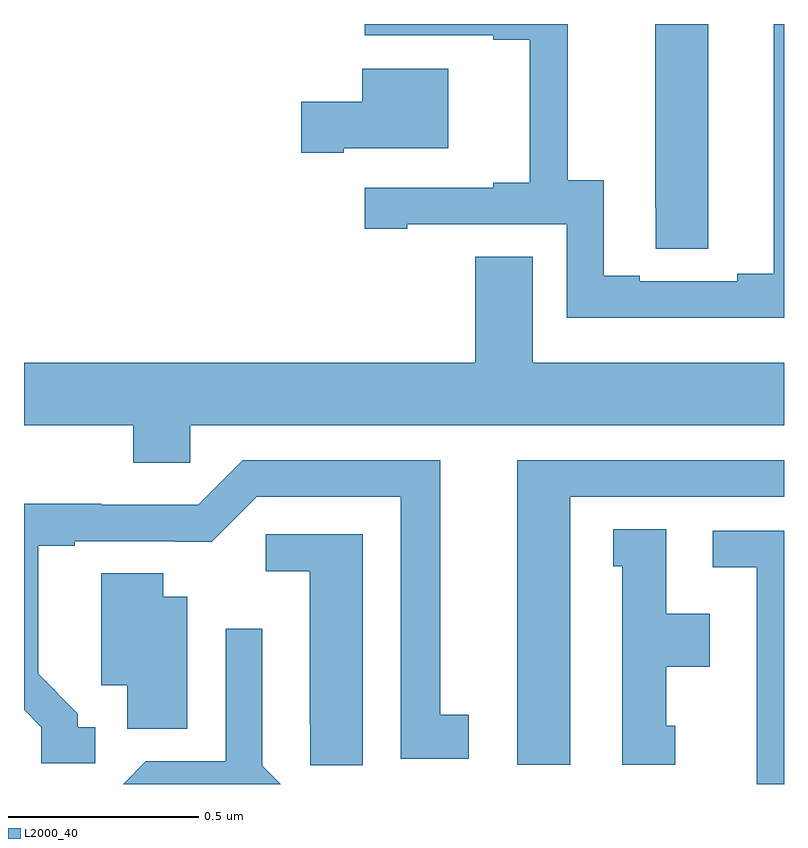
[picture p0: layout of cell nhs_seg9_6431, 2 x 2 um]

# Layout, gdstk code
import gdstk
lib = gdstk.Library(unit=1e-6, precision=1e-09)
def P(c, l, *ps):  # polygons
    for p in ps: c.add(gdstk.Polygon(p, *l))
L2000_40 = (2000, 40)

nhs_seg9_6431 = lib.new_cell('nhs_seg9_6431')
P(nhs_seg9_6431, L2000_40, [(193.801,1173.5),(193.661,1173.5),(193.661,1173.016),(193.662,1173.016),(193.662,1172.908),(193.801,1172.908)],
  [(194,1173.5),(193.973,1173.5),(193.973,1172.843),(193.877,1172.843),(193.877,1172.823),(193.621,1172.823),(193.621,1172.838),(193.525,1172.838),(193.525,1173.089),(193.431,1173.089),(193.431,1173.5),(192.897,1173.5),(192.897,1173.471),(193.235,1173.471),(193.235,1173.459),(193.331,1173.459),(193.331,1173.082),(193.235,1173.082),(193.235,1173.069),(192.897,1173.069),(192.897,1172.961),(193.009,1172.961),(193.009,1172.973),(193.428,1172.973),(193.428,1172.727),(194,1172.727)],
  [(192.841,1173.173),(193.117,1173.173),(193.117,1173.382),(192.89,1173.382),(192.89,1173.295),(192.729,1173.295),(192.729,1173.161),(192.841,1173.161)],
  [(192.438,1172.444),(194,1172.444),(194,1172.608),(193.339,1172.608),(193.339,1172.888),(193.187,1172.888),(193.187,1172.608),(192,1172.608),(192,1172.444),(192.287,1172.444),(192.287,1172.346),(192.438,1172.346)],
  [(192.187,1171.65),(192.142,1171.65),(192.142,1171.685),(192.037,1171.79),(192.037,1172.127),(192.133,1172.127),(192.133,1172.139),(192.398,1172.139),(192.398,1172.138),(192.494,1172.138),(192.612,1172.256),(192.992,1172.256),(192.992,1171.566),(193.171,1171.566),(193.171,1171.682),(193.096,1171.682),(193.096,1172.352),(192.576,1172.352),(192.459,1172.235),(192.203,1172.235),(192.203,1172.237),(192,1172.237),(192,1171.695),(192.045,1171.65),(192.045,1171.554),(192.187,1171.554)],
  [(193.438,1172.256),(194,1172.256),(194,1172.352),(193.298,1172.352),(193.298,1171.551),(193.438,1171.551)],
  [(193.714,1171.653),(193.69,1171.653),(193.69,1171.808),(193.804,1171.808),(193.804,1171.948),(193.69,1171.948),(193.69,1172.171),(193.55,1172.171),(193.55,1172.073),(193.574,1172.073),(193.574,1171.551),(193.714,1171.551)],
  [(194,1172.166),(193.812,1172.166),(193.812,1172.07),(193.928,1172.07),(193.928,1171.5),(194,1171.5)],
  [(192.892,1172.157),(192.636,1172.157),(192.636,1172.06),(192.752,1172.06),(192.752,1171.657),(192.753,1171.657),(192.753,1171.549),(192.892,1171.549)],
  [(192.43,1171.993),(192.367,1171.993),(192.367,1172.054),(192.203,1172.054),(192.203,1171.76),(192.272,1171.76),(192.272,1171.645),(192.43,1171.645)],
  [(192.627,1171.548),(192.627,1171.909),(192.531,1171.909),(192.531,1171.56),(192.321,1171.56),(192.261,1171.5),(192.675,1171.5)])

lib.write_gds('nhs_seg9_6431.gds')
